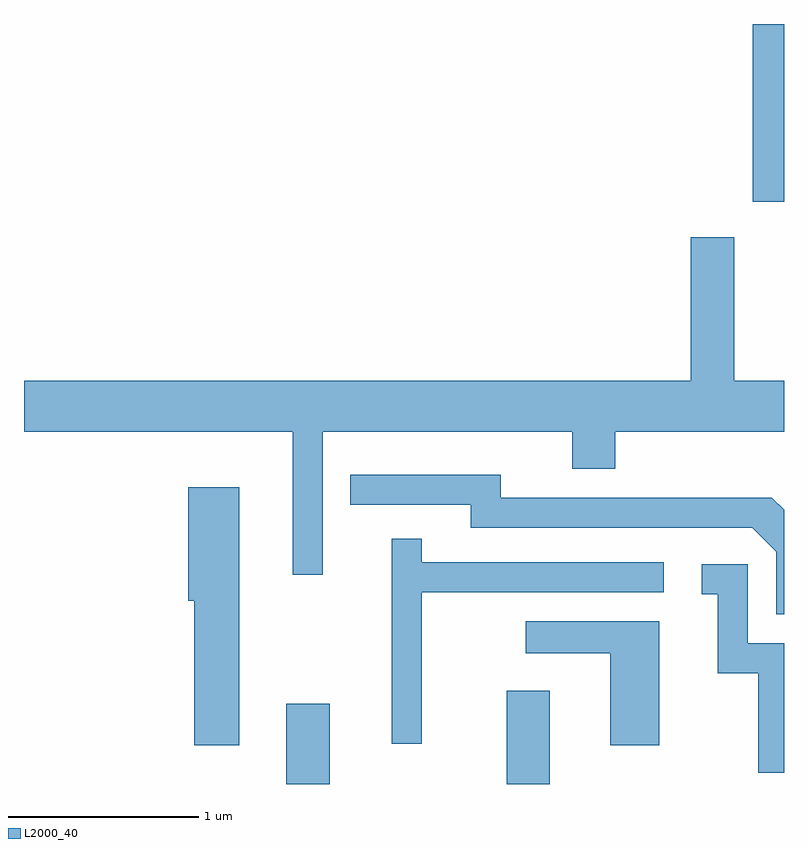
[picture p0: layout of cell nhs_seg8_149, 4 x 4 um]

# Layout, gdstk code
import gdstk
lib = gdstk.Library(unit=1e-6, precision=1e-09)
def R(c, l, rs):  # rectangles x0, y0, x1, y1
    for r in rs: c.add(gdstk.rectangle(r[:2], r[2:], *l))
def P(c, l, *ps):  # polygons
    for p in ps: c.add(gdstk.Polygon(p, *l))
L2000_40 = (2000, 40)

nhs_seg8_149 = lib.new_cell('nhs_seg8_149')
R(nhs_seg8_149, L2000_40, [(190.991,1832.342,191.219,1832.764), (192.151,1832.342,192.379,1832.834), (193.446,1835.406,193.611,1836.342)])
P(nhs_seg8_149, L2000_40, [(191.184,1834.196),(192.496,1834.196),(192.496,1834.001),(192.724,1834.001),(192.724,1834.196),(193.611,1834.196),(193.611,1834.464),(193.349,1834.464),(193.349,1835.219),(193.121,1835.219),(193.121,1834.464),(189.611,1834.464),(189.611,1834.196),(191.026,1834.196),(191.026,1833.443),(191.184,1833.443)],
  [(193.611,1833.785),(193.547,1833.849),(192.119,1833.849),(192.119,1833.969),(191.328,1833.969),(191.328,1833.811),(191.961,1833.811),(191.961,1833.691),(193.444,1833.691),(193.571,1833.564),(193.571,1833.236),(193.611,1833.236)],
  [(190.744,1833.904),(190.476,1833.904),(190.476,1833.306),(190.506,1833.306),(190.506,1832.546),(190.744,1832.546)],
  [(191.704,1833.351),(192.978,1833.351),(192.978,1833.509),(191.704,1833.509),(191.704,1833.633),(191.546,1833.633),(191.546,1832.553),(191.704,1832.553)],
  [(193.611,1833.084),(193.419,1833.084),(193.419,1833.499),(193.178,1833.499),(193.178,1833.341),(193.261,1833.341),(193.261,1832.926),(193.476,1832.926),(193.476,1832.401),(193.611,1832.401)],
  [(192.954,1833.199),(192.253,1833.199),(192.253,1833.031),(192.696,1833.031),(192.696,1832.546),(192.954,1832.546)])

lib.write_gds('nhs_seg8_149.gds')
